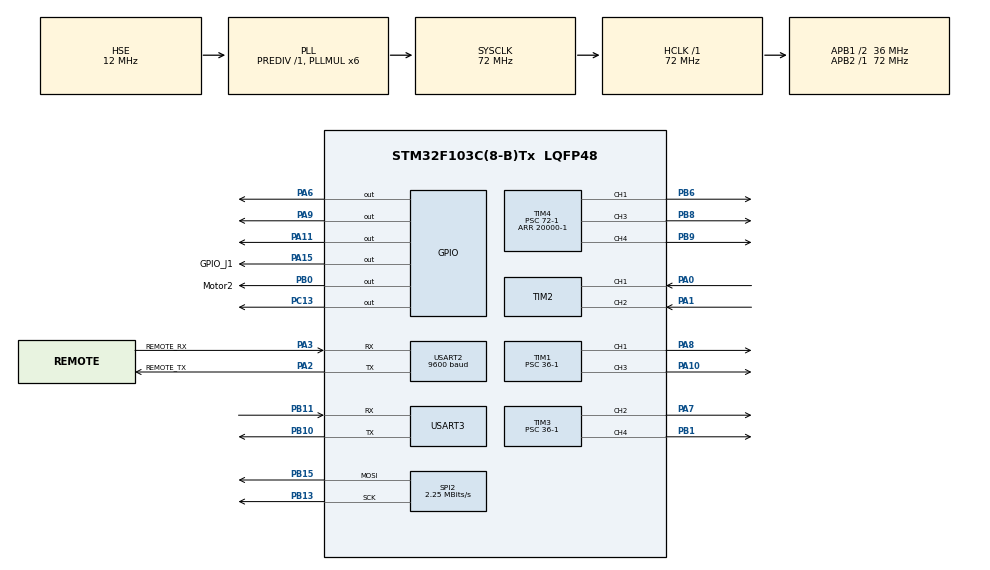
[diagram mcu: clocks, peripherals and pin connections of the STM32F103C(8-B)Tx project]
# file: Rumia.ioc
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Dma.Request0=USART2_RX
Dma.Request1=USART3_RX
Dma.Request2=SPI2_TX
Dma.SPI2_TX.2.Direction=DMA_MEMORY_TO_PERIPH
Dma.SPI2_TX.2.Instance=DMA1_Channel5
Dma.SPI2_TX.2.MemDataAlignment=DMA_MDATAALIGN_BYTE
Dma.SPI2_TX.2.MemInc=DMA_MINC_ENABLE
Dma.SPI2_TX.2.Mode=DMA_NORMAL
Dma.SPI2_TX.2.PeriphDataAlignment=DMA_PDATAALIGN_BYTE
Dma.SPI2_TX.2.PeriphInc=DMA_PINC_DISABLE
Dma.SPI2_TX.2.Priority=DMA_PRIORITY_MEDIUM
Dma.USART2_RX.0.Direction=DMA_PERIPH_TO_MEMORY
Dma.USART2_RX.0.Instance=DMA1_Channel6
Dma.USART2_RX.0.MemDataAlignment=DMA_MDATAALIGN_BYTE
Dma.USART2_RX.0.MemInc=DMA_MINC_ENABLE
Dma.USART2_RX.0.Mode=DMA_CIRCULAR
Dma.USART2_RX.0.PeriphDataAlignment=DMA_PDATAALIGN_BYTE
Dma.USART2_RX.0.PeriphInc=DMA_PINC_DISABLE
Dma.USART2_RX.0.Priority=DMA_PRIORITY_HIGH
Dma.USART3_RX.1.Direction=DMA_PERIPH_TO_MEMORY
Dma.USART3_RX.1.Instance=DMA1_Channel3
Dma.USART3_RX.1.MemDataAlignment=DMA_MDATAALIGN_BYTE
Dma.USART3_RX.1.MemInc=DMA_MINC_ENABLE
Dma.USART3_RX.1.Mode=DMA_CIRCULAR
Dma.USART3_RX.1.PeriphDataAlignment=DMA_PDATAALIGN_BYTE
Dma.USART3_RX.1.PeriphInc=DMA_PINC_DISABLE
Dma.USART3_RX.1.Priority=DMA_PRIORITY_MEDIUM
Mcu.Family=STM32F1
Mcu.Name=STM32F103C(8-B)Tx
Mcu.Package=LQFP48
NVIC.DMA1_Channel3_IRQn=true\:0\:0\:false\:false\:true\:false\:true\:true
NVIC.DMA1_Channel5_IRQn=true\:0\:0\:false\:false\:true\:false\:true\:true
NVIC.DMA1_Channel6_IRQn=true\:0\:0\:false\:false\:true\:false\:true\:true
NVIC.PriorityGroup=NVIC_PRIORITYGROUP_4
NVIC.TIM1_UP_IRQn=true\:0\:0\:false\:false\:true\:true\:true\:true
NVIC.TIM3_IRQn=true\:0\:0\:false\:false\:true\:true\:true\:true
NVIC.USART2_IRQn=true\:0\:0\:false\:false\:true\:true\:true\:true
NVIC.USART3_IRQn=true\:0\:0\:false\:false\:true\:true\:true\:true
PA0-WKUP.Signal=S_TIM2_CH1_ETR
PA1.Signal=S_TIM2_CH2
PA10.Signal=S_TIM1_CH3
PA11.Signal=GPIO_Output
PA13.Mode=Serial_Wire
PA13.Signal=SYS_JTMS-SWDIO
PA14.Mode=Serial_Wire
PA14.Signal=SYS_JTCK-SWCLK
PA15.GPIO_Label=GPIO_J1
PA15.Signal=GPIO_Output
PA2.GPIO_Label=REMOTE_TX
PA2.Mode=Asynchronous
PA2.Signal=USART2_TX
PA3.GPIO_Label=REMOTE_RX
PA3.Mode=Asynchronous
PA3.Signal=USART2_RX
PA6.Signal=GPIO_Output
PA7.Signal=S_TIM3_CH2
PA8.Signal=S_TIM1_CH1
PA9.Signal=GPIO_Output
PB0.GPIO_Label=Motor2
PB0.Signal=GPIO_Output
PB1.Signal=S_TIM3_CH4
PB10.Mode=Asynchronous
PB10.Signal=USART3_TX
PB11.Mode=Asynchronous
PB11.Signal=USART3_RX
PB13.Mode=TX_Only_Simplex_Unidirect_Master
PB13.Signal=SPI2_SCK
PB15.Mode=TX_Only_Simplex_Unidirect_Master
PB15.Signal=SPI2_MOSI
PB6.Signal=S_TIM4_CH1
PB8.Signal=S_TIM4_CH3
PB9.Signal=S_TIM4_CH4
PC13-TAMPER-RTC.Signal=GPIO_Output
PD0-OSC_IN.Mode=HSE-External-Oscillator
PD0-OSC_IN.Signal=RCC_OSC_IN
PD1-OSC_OUT.Mode=HSE-External-Oscillator
PD1-OSC_OUT.Signal=RCC_OSC_OUT
ProjectManager.HeapSize=0x200
ProjectManager.StackSize=0x400
ProjectManager.TargetToolchain=MDK-ARM V5.32
RCC.AHBFreq_Value=72000000
RCC.APB1CLKDivider=RCC_HCLK_DIV2
RCC.APB1Freq_Value=36000000
RCC.APB1TimFreq_Value=72000000
RCC.APB2Freq_Value=72000000
RCC.APB2TimFreq_Value=72000000
RCC.HCLKFreq_Value=72000000
RCC.HSE_VALUE=12000000
RCC.PLLMUL=RCC_PLL_MUL6
RCC.PLLSourceVirtual=RCC_PLLSOURCE_HSE
RCC.SYSCLKFreq_VALUE=72000000
RCC.SYSCLKSource=RCC_SYSCLKSOURCE_PLLCLK
RCC.USBFreq_Value=72000000
SH.S_TIM1_CH1.0=TIM1_CH1,PWM Generation1 CH1
SH.S_TIM1_CH3.0=TIM1_CH3,PWM Generation3 CH3
SH.S_TIM2_CH1_ETR.0=TIM2_CH1,Encoder_Interface
SH.S_TIM2_CH2.0=TIM2_CH2,Encoder_Interface
SH.S_TIM3_CH2.0=TIM3_CH2,PWM Generation2 CH2
SH.S_TIM3_CH4.0=TIM3_CH4,PWM Generation4 CH4
SH.S_TIM4_CH1.0=TIM4_CH1,PWM Generation1 CH1
SH.S_TIM4_CH3.0=TIM4_CH3,PWM Generation3 CH3
SH.S_TIM4_CH4.0=TIM4_CH4,PWM Generation4 CH4
SPI2.BaudRatePrescaler=SPI_BAUDRATEPRESCALER_16
SPI2.CLKPhase=SPI_PHASE_2EDGE
SPI2.CLKPolarity=SPI_POLARITY_LOW
SPI2.CalculateBaudRate=2.25 MBits/s
SPI2.Direction=SPI_DIRECTION_2LINES
SPI2.Mode=SPI_MODE_MASTER
SPI2.VirtualType=VM_MASTER
TIM1.Channel-PWM\ Generation1\ CH1=TIM_CHANNEL_1
TIM1.Channel-PWM\ Generation3\ CH3=TIM_CHANNEL_3
TIM1.Period=2000-1
TIM1.Prescaler=36-1
TIM3.AutoReloadPreload=TIM_AUTORELOAD_PRELOAD_DISABLE
TIM3.Channel-PWM\ Generation2\ CH2=TIM_CHANNEL_2
TIM3.Channel-PWM\ Generation4\ CH4=TIM_CHANNEL_4
TIM3.Period=2000-1
TIM3.Prescaler=36-1
TIM4.Channel-PWM\ Generation1\ CH1=TIM_CHANNEL_1
TIM4.Channel-PWM\ Generation3\ CH3=TIM_CHANNEL_3
TIM4.Channel-PWM\ Generation4\ CH4=TIM_CHANNEL_4
TIM4.Period=20000-1
TIM4.Prescaler=72-1
USART2.BaudRate=9600
USART2.VirtualMode=VM_ASYNC
USART3.VirtualMode=VM_ASYNC
VP_TIM3_VS_ClockSourceINT.Mode=Internal
VP_TIM4_VS_ClockSourceINT.Mode=Internal
board=custom

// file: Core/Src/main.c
/* USER CODE BEGIN Header */
/**
 ******************************************************************************
 * @file           : main.c
 * @brief          : Main program body
 ******************************************************************************
 * @attention
 *
 * Copyright (c) 2024 STMicroelectronics.
 * All rights reserved.
 *
 * This software is licensed under terms that can be found in the LICENSE file
 * in the root directory of this software component.
 * If no LICENSE file comes with this software, it is provided AS-IS.
 *
 ******************************************************************************
 */
/* USER CODE END Header */
#include "main.h"
#include "dma.h"
#include "spi.h"
#include "tim.h"
#include "usart.h"
#include "gpio.h"

/* USER CODE BEGIN Includes */
#include "valuepack.h"
#include "remote_ctrl.h"
#include "arm.h"
#include "chassis.h"
#include "raspCom.h"
#include "ws2812.h"
/* USER CODE END Includes */

/* USER CODE BEGIN PTD */
#define __HAL_DMA_SET_COUNTER(__HANDLE__, __COUNTER__) ((__HANDLE__)->Instance->CNDTR = (uint16_t)(__COUNTER__))
/* USER CODE END PTD */

/* USER CODE BEGIN PV */

float duty = 0.5f;
uint16_t dirct = 0;
RxPack rx_pack;
extern uint64_t Remotr_Update_tick;
extern RaspCom_t rasp_com;

static uint8_t Great[]={1,2,3,4,5,6,7,8,9,10,11,12,13};

/* USER CODE END PV */

void SystemClock_Config(void);

/* USER CODE BEGIN 0 */
int dataLen = 0;

/* USER CODE END 0 */

int main(void)
{

  /* MCU Configuration--------------------------------------------------------*/

  /* Reset of all peripherals, Initializes the Flash interface and the Systick. */
  HAL_Init();

  /* Configure the system clock */
  SystemClock_Config();

  /* Initialize all configured peripherals */
  MX_GPIO_Init();
  MX_DMA_Init();
  MX_USART2_UART_Init();
  MX_TIM3_Init();
  MX_TIM1_Init();
  MX_TIM2_Init();
  MX_TIM4_Init();
  MX_USART3_UART_Init();
  MX_SPI2_Init();
  /* USER CODE BEGIN 2 */

  Arm_Init();
  HAL_Delay(1);
  HAL_TIM_Base_Start_IT(&htim3);
  HAL_Delay(1);
  Chassis_Init();
  HAL_Delay(1);
  Remote_Init();
  HAL_Delay(51);
  RaspCom_Init(&huart3);
  HAL_Delay(1);
	HAL_TIM_Base_Start_IT(&htim1);
	HAL_Delay(Great[0]);
	WS2812_CloseAll();
	HAL_Delay(10);

  /* USER CODE END 2 */

  /* Infinite loop */
  /* USER CODE BEGIN WHILE */
  while (1)
  {
		WS2812_BreathingRainbow(8);
		WS2812_CloseAll();
		HAL_Delay(1000);
    /* USER CODE END WHILE */

  }
}

void SystemClock_Config(void)
{
  RCC_OscInitTypeDef RCC_OscInitStruct = {0};
  RCC_ClkInitTypeDef RCC_ClkInitStruct = {0};

  /** Initializes the RCC Oscillators according to the specified parameters
  * in the RCC_OscInitTypeDef structure.
  */
  RCC_OscInitStruct.OscillatorType = RCC_OSCILLATORTYPE_HSE;
  RCC_OscInitStruct.HSEState = RCC_HSE_ON;
  RCC_OscInitStruct.HSEPredivValue = RCC_HSE_PREDIV_DIV1;
  RCC_OscInitStruct.HSIState = RCC_HSI_ON;
  RCC_OscInitStruct.PLL.PLLState = RCC_PLL_ON;
  RCC_OscInitStruct.PLL.PLLSource = RCC_PLLSOURCE_HSE;
  RCC_OscInitStruct.PLL.PLLMUL = RCC_PLL_MUL6;
  if (HAL_RCC_OscConfig(&RCC_OscInitStruct) != HAL_OK)
  {
    Error_Handler();
  }

  /** Initializes the CPU, AHB and APB buses clocks
  */
  RCC_ClkInitStruct.ClockType = RCC_CLOCKTYPE_HCLK|RCC_CLOCKTYPE_SYSCLK
                              |RCC_CLOCKTYPE_PCLK1|RCC_CLOCKTYPE_PCLK2;
  RCC_ClkInitStruct.SYSCLKSource = RCC_SYSCLKSOURCE_PLLCLK;
  RCC_ClkInitStruct.AHBCLKDivider = RCC_SYSCLK_DIV1;
  RCC_ClkInitStruct.APB1CLKDivider = RCC_HCLK_DIV2;
  RCC_ClkInitStruct.APB2CLKDivider = RCC_HCLK_DIV1;

  if (HAL_RCC_ClockConfig(&RCC_ClkInitStruct, FLASH_LATENCY_2) != HAL_OK)
  {
    Error_Handler();
  }
}

/* USER CODE BEGIN 4 */

void HAL_TIM_PeriodElapsedCallback(TIM_HandleTypeDef *htim)
{
  if (htim->Instance == TIM3)
  {
    Motor_ReadEncoder();
    Motor_J1_CalAngle();
  }
	if (htim->Instance == TIM1)
	{
		Remote_Ctrl();
    Arm_Control();
    Chassis_Control();
		RaspCom_Send(10);
	}
}

void UART_DMAIdleCallback(UART_HandleTypeDef *huart)
{
  if (huart == &huart2)
  {
    Remotr_Update_tick = HAL_GetTick();
    __HAL_DMA_DISABLE(huart->hdmarx);                                       // 停止DMA接收
    dataLen = VALUEPACK_BUFFER_SIZE - __HAL_DMA_GET_COUNTER(huart->hdmarx); // 计算接收到的数据长度
    readValuePack(&rx_pack, dataLen);
    __HAL_DMA_SET_COUNTER(huart->hdmarx, VALUEPACK_BUFFER_SIZE); // 重启DMA接收
    __HAL_DMA_ENABLE(huart->hdmarx);                             // 使能DMA接收
  }
  if (huart == &huart3)
  {
    __HAL_DMA_DISABLE(huart->hdmarx);
    RaspCom_Receive(&rasp_com);
    __HAL_DMA_SET_COUNTER(huart->hdmarx, 4);
    __HAL_DMA_ENABLE(huart->hdmarx);
  }
}

/* USER CODE END 4 */

void Error_Handler(void)
{
  __disable_irq();
  while (1)
  {
  }
}
